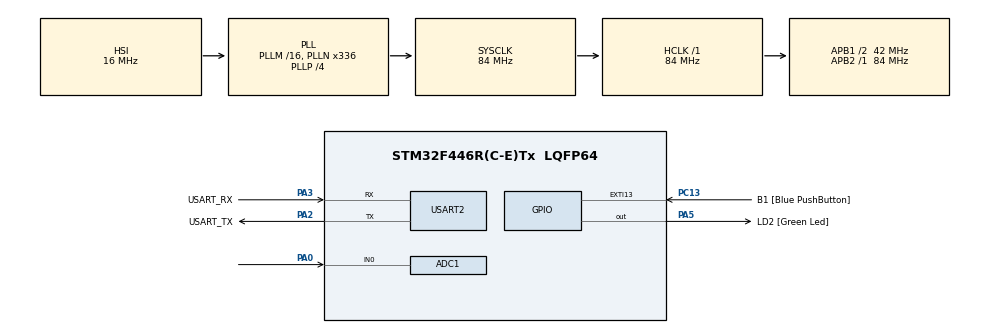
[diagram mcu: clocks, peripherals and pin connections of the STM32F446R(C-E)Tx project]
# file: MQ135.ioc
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ADC1.Channel-0\#ChannelRegularConversion=ADC_CHANNEL_0
ADC1.ContinuousConvMode=ENABLE
ADC1.DiscontinuousConvMode=DISABLE
ADC1.NbrOfConversionFlag=1
ADC1.Rank-0\#ChannelRegularConversion=1
ADC1.SamplingTime-0\#ChannelRegularConversion=ADC_SAMPLETIME_3CYCLES
ADC1.ScanConvMode=ENABLE
ADC1.master=1
Mcu.Family=STM32F4
Mcu.Name=STM32F446R(C-E)Tx
Mcu.Package=LQFP64
NVIC.PriorityGroup=NVIC_PRIORITYGROUP_0
PA0-WKUP.Signal=ADCx_IN0
PA13.GPIO_Label=TMS
PA13.Mode=Serial_Wire
PA13.Signal=SYS_JTMS-SWDIO
PA14.GPIO_Label=TCK
PA14.Mode=Serial_Wire
PA14.Signal=SYS_JTCK-SWCLK
PA2.GPIO_Label=USART_TX
PA2.Mode=Asynchronous
PA2.Signal=USART2_TX
PA3.GPIO_Label=USART_RX
PA3.Mode=Asynchronous
PA3.Signal=USART2_RX
PA5.GPIO_Label=LD2 [Green Led]
PA5.Signal=GPIO_Output
PB3.GPIO_Label=SWO
PB3.Signal=SYS_JTDO-SWO
PC13.GPIO_Label=B1 [Blue PushButton]
PC13.GPIO_ModeDefaultEXTI=GPIO_MODE_IT_FALLING
PC13.Signal=GPXTI13
PC14-OSC32_IN.Mode=LSE-External-Oscillator
PC14-OSC32_IN.Signal=RCC_OSC32_IN
PC15-OSC32_OUT.Mode=LSE-External-Oscillator
PC15-OSC32_OUT.Signal=RCC_OSC32_OUT
PH0-OSC_IN.Mode=HSE-External-Oscillator
PH0-OSC_IN.Signal=RCC_OSC_IN
PH1-OSC_OUT.Mode=HSE-External-Oscillator
PH1-OSC_OUT.Signal=RCC_OSC_OUT
ProjectManager.HeapSize=0x200
ProjectManager.StackSize=0x400
ProjectManager.TargetToolchain=STM32CubeIDE
RCC.48MHZClocksFreq_Value=84000000
RCC.AHBFreq_Value=84000000
RCC.APB1CLKDivider=RCC_HCLK_DIV2
RCC.APB1Freq_Value=42000000
RCC.APB1TimFreq_Value=84000000
RCC.APB2Freq_Value=84000000
RCC.APB2TimFreq_Value=84000000
RCC.CortexFreq_Value=84000000
RCC.FLatency-AdvancedSettings=FLASH_LATENCY_2
RCC.HCLKFreq_Value=84000000
RCC.HSE_VALUE=8000000
RCC.HSI_VALUE=16000000
RCC.PLLN=336
RCC.PLLP=RCC_PLLP_DIV4
RCC.SYSCLKFreq_VALUE=84000000
RCC.SYSCLKSource=RCC_SYSCLKSOURCE_PLLCLK
RCC.USBFreq_Value=168000000
RCC.VCOOutputFreq_Value=336000000
SH.ADCx_IN0.0=ADC1_IN0,IN0
USART2.VirtualMode=VM_ASYNC
board=NUCLEO-F446RE

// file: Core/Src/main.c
/* USER CODE BEGIN Header */
/**
  ******************************************************************************
  * @file           : main.c
  * @brief          : Main program body
  ******************************************************************************
  * @attention
  *
  * Copyright (c) 2025 STMicroelectronics.
  * All rights reserved.
  *
  * This software is licensed under terms that can be found in the LICENSE file
  * in the root directory of this software component.
  * If no LICENSE file comes with this software, it is provided AS-IS.
  *
  ******************************************************************************
  */
/* USER CODE END Header */
#include "main.h"

/* USER CODE BEGIN Includes */
#include <stdio.h>
/* USER CODE END Includes */

ADC_HandleTypeDef hadc1;

UART_HandleTypeDef huart2;

/* USER CODE BEGIN PV */
uint32_t adc_value = 0;
float voltage = 0.0;
/* USER CODE END PV */

void SystemClock_Config(void);
static void MX_GPIO_Init(void);
static void MX_USART2_UART_Init(void);
static void MX_ADC1_Init(void);
/* USER CODE BEGIN PFP */
void mq135(void);
/* USER CODE END PFP */

int main(void)
{

  /* MCU Configuration--------------------------------------------------------*/

  /* Reset of all peripherals, Initializes the Flash interface and the Systick. */
  HAL_Init();

  /* Configure the system clock */
  SystemClock_Config();

  /* Initialize all configured peripherals */
  MX_GPIO_Init();
  MX_USART2_UART_Init();
  MX_ADC1_Init();
  /* USER CODE BEGIN 2 */
  HAL_ADC_Start(&hadc1);
  /* USER CODE END 2 */

  /* Infinite loop */
  while (1)
  {

    /* USER CODE BEGIN 3 */
	  mq135();
  }
  /* USER CODE END 3 */
}

void SystemClock_Config(void)
{
  RCC_OscInitTypeDef RCC_OscInitStruct = {0};
  RCC_ClkInitTypeDef RCC_ClkInitStruct = {0};

  /** Configure the main internal regulator output voltage
  */
  __HAL_RCC_PWR_CLK_ENABLE();
  __HAL_PWR_VOLTAGESCALING_CONFIG(PWR_REGULATOR_VOLTAGE_SCALE3);

  /** Initializes the RCC Oscillators according to the specified parameters
  * in the RCC_OscInitTypeDef structure.
  */
  RCC_OscInitStruct.OscillatorType = RCC_OSCILLATORTYPE_HSI;
  RCC_OscInitStruct.HSIState = RCC_HSI_ON;
  RCC_OscInitStruct.HSICalibrationValue = RCC_HSICALIBRATION_DEFAULT;
  RCC_OscInitStruct.PLL.PLLState = RCC_PLL_ON;
  RCC_OscInitStruct.PLL.PLLSource = RCC_PLLSOURCE_HSI;
  RCC_OscInitStruct.PLL.PLLM = 16;
  RCC_OscInitStruct.PLL.PLLN = 336;
  RCC_OscInitStruct.PLL.PLLP = RCC_PLLP_DIV4;
  RCC_OscInitStruct.PLL.PLLQ = 2;
  RCC_OscInitStruct.PLL.PLLR = 2;
  if (HAL_RCC_OscConfig(&RCC_OscInitStruct) != HAL_OK)
  {
    Error_Handler();
  }

  /** Initializes the CPU, AHB and APB buses clocks
  */
  RCC_ClkInitStruct.ClockType = RCC_CLOCKTYPE_HCLK|RCC_CLOCKTYPE_SYSCLK
                              |RCC_CLOCKTYPE_PCLK1|RCC_CLOCKTYPE_PCLK2;
  RCC_ClkInitStruct.SYSCLKSource = RCC_SYSCLKSOURCE_PLLCLK;
  RCC_ClkInitStruct.AHBCLKDivider = RCC_SYSCLK_DIV1;
  RCC_ClkInitStruct.APB1CLKDivider = RCC_HCLK_DIV2;
  RCC_ClkInitStruct.APB2CLKDivider = RCC_HCLK_DIV1;

  if (HAL_RCC_ClockConfig(&RCC_ClkInitStruct, FLASH_LATENCY_2) != HAL_OK)
  {
    Error_Handler();
  }
}

static void MX_ADC1_Init(void)
{

  ADC_ChannelConfTypeDef sConfig = {0};

  /** Configure the global features of the ADC (Clock, Resolution, Data Alignment and number of conversion)
  */
  hadc1.Instance = ADC1;
  hadc1.Init.ClockPrescaler = ADC_CLOCK_SYNC_PCLK_DIV4;
  hadc1.Init.Resolution = ADC_RESOLUTION_12B;
  hadc1.Init.ScanConvMode = ENABLE;
  hadc1.Init.ContinuousConvMode = ENABLE;
  hadc1.Init.DiscontinuousConvMode = DISABLE;
  hadc1.Init.ExternalTrigConvEdge = ADC_EXTERNALTRIGCONVEDGE_NONE;
  hadc1.Init.ExternalTrigConv = ADC_SOFTWARE_START;
  hadc1.Init.DataAlign = ADC_DATAALIGN_RIGHT;
  hadc1.Init.NbrOfConversion = 1;
  hadc1.Init.DMAContinuousRequests = DISABLE;
  hadc1.Init.EOCSelection = ADC_EOC_SINGLE_CONV;
  if (HAL_ADC_Init(&hadc1) != HAL_OK)
  {
    Error_Handler();
  }

  /** Configure for the selected ADC regular channel its corresponding rank in the sequencer and its sample time.
  */
  sConfig.Channel = ADC_CHANNEL_0;
  sConfig.Rank = 1;
  sConfig.SamplingTime = ADC_SAMPLETIME_3CYCLES;
  if (HAL_ADC_ConfigChannel(&hadc1, &sConfig) != HAL_OK)
  {
    Error_Handler();
  }

}

static void MX_USART2_UART_Init(void)
{

  huart2.Instance = USART2;
  huart2.Init.BaudRate = 115200;
  huart2.Init.WordLength = UART_WORDLENGTH_8B;
  huart2.Init.StopBits = UART_STOPBITS_1;
  huart2.Init.Parity = UART_PARITY_NONE;
  huart2.Init.Mode = UART_MODE_TX_RX;
  huart2.Init.HwFlowCtl = UART_HWCONTROL_NONE;
  huart2.Init.OverSampling = UART_OVERSAMPLING_16;
  if (HAL_UART_Init(&huart2) != HAL_OK)
  {
    Error_Handler();
  }

}

static void MX_GPIO_Init(void)
{
  GPIO_InitTypeDef GPIO_InitStruct = {0};

  /* GPIO Ports Clock Enable */
  __HAL_RCC_GPIOC_CLK_ENABLE();
  __HAL_RCC_GPIOH_CLK_ENABLE();
  __HAL_RCC_GPIOA_CLK_ENABLE();
  __HAL_RCC_GPIOB_CLK_ENABLE();

  /*Configure GPIO pin Output Level */
  HAL_GPIO_WritePin(LD2_GPIO_Port, LD2_Pin, GPIO_PIN_RESET);

  /*Configure GPIO pin : B1_Pin */
  GPIO_InitStruct.Pin = B1_Pin;
  GPIO_InitStruct.Mode = GPIO_MODE_IT_FALLING;
  GPIO_InitStruct.Pull = GPIO_NOPULL;
  HAL_GPIO_Init(B1_GPIO_Port, &GPIO_InitStruct);

  /*Configure GPIO pin : LD2_Pin */
  GPIO_InitStruct.Pin = LD2_Pin;
  GPIO_InitStruct.Mode = GPIO_MODE_OUTPUT_PP;
  GPIO_InitStruct.Pull = GPIO_NOPULL;
  GPIO_InitStruct.Speed = GPIO_SPEED_FREQ_LOW;
  HAL_GPIO_Init(LD2_GPIO_Port, &GPIO_InitStruct);

}

/* USER CODE BEGIN 4 */
int _write(int file, char *ptr, int len)
{
(void)file;
int DataIdx;

for (DataIdx = 0; DataIdx < len; DataIdx++)
{
  ITM_SendChar(*ptr++);
}
return len;
}

void mq135(void){
	HAL_ADC_Start(&hadc1);
    HAL_ADC_PollForConversion(&hadc1, HAL_MAX_DELAY);
    adc_value = HAL_ADC_GetValue(&hadc1);
    voltage = (adc_value * 3.3) / 4095.0; // Convert ADC value to voltage

    printf("ADC: %lu  Voltage: %.2f V\r\n", adc_value, voltage);
    HAL_Delay(1000);
    HAL_ADC_Stop(&hadc1);
}
/* USER CODE END 4 */

void Error_Handler(void)
{
  __disable_irq();
  while (1)
  {
  }
}
